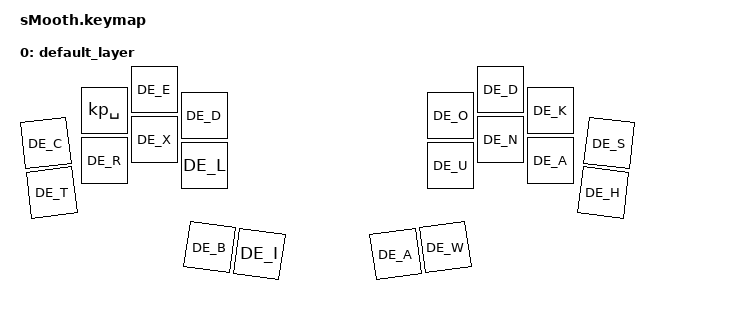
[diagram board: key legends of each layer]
#include <behaviors.dtsi>
#include <dt-bindings/zmk/keys.h>
#include "keys_de.h"

/ {
    keymap {
        compatible = "zmk,keymap";

        default_layer { // Layer 0
            // -------------------------------------
            // |     Z     |     M     |     K     |
            // |     A     |     B     |     C     |
            // |     D     |     E     |     F     |
            bindings = <
                &kp DE_R    &kp DE_L    &kp DE_D    &kp DE_B          &kp DE_W    &kp DE_O  &kp DE_U   &kp DE_A
                &kp DE_X    &kp DE_N    &kp DE_T    &kp DE_H          &kp DE_C    &kp DE_E  &kp DE_I   &kp DE_A
                						&kp DE_D    &kp DE_S          &kp KP_SPC  &kp DE_K
            >;
        };
    };
 };
